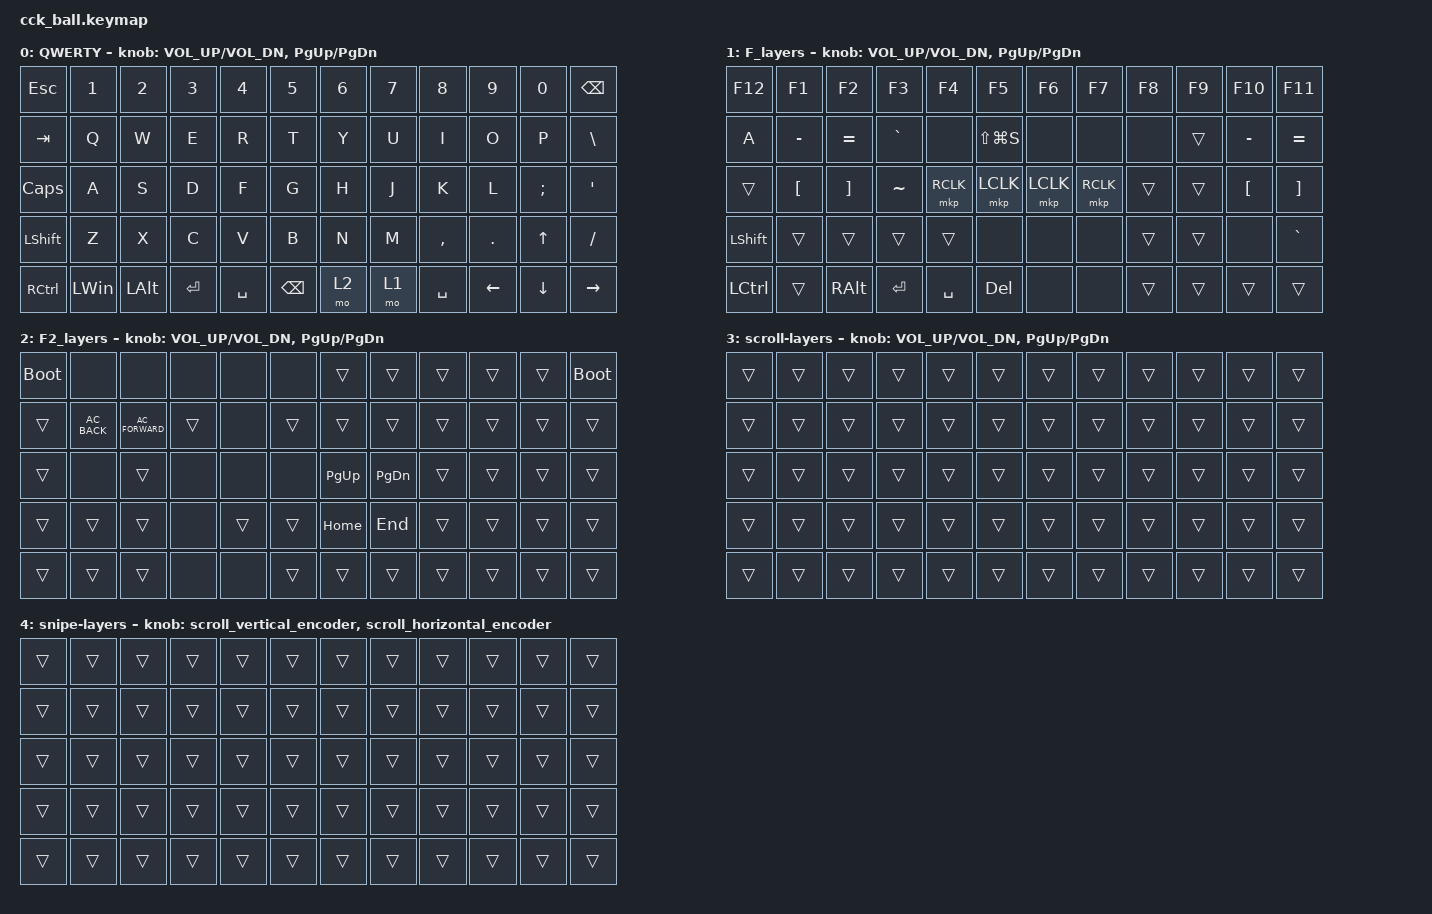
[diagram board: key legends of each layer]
#define ZMK_POINTING_DEFAULT_MOVE_VAL 1000 // 600
#define ZMK_POINTING_DEFAULT_SCRL_VAL 12   // 10

#include <input/processors.dtsi>
#include <zephyr/dt-bindings/input/input-event-codes.h>
#include <behaviors.dtsi>
#include <dt-bindings/zmk/keys.h>
#include <dt-bindings/zmk/pointing.h>

&mmv_input_listener { input-processors = <&zip_xy_scaler 2 1>; };

&msc_input_listener { input-processors = <&zip_scroll_scaler 2 1>; };

&msc {
    acceleration-exponent = <0>;      // 0
    time-to-max-speed-ms = <300>;       // 300
    delay-ms = <0>;                   // 0
};

&mmv {
    time-to-max-speed-ms = <500>;
    acceleration-exponent = <1>;
    trigger-period-ms = <16>;
};

&soft_off { hold-time-ms = <2000>; };

/ {
    // 上下滚动编码器行为

    scroll_vertical_encoder: scroll_vertical_encoder {
        compatible = "zmk,behavior-sensor-rotate";
        #sensor-binding-cells = <0>;
        bindings = <&msc SCRL_DOWN>, <&msc SCRL_UP>;

        tap-ms = <100>;
    };

    // 左右滚动编码器行为

    scroll_horizontal_encoder: scroll_horizontal_encoder {
        compatible = "zmk,behavior-sensor-rotate";
        #sensor-binding-cells = <0>;
        bindings = <&msc SCRL_LEFT>, <&msc SCRL_RIGHT>;

        tap-ms = <100>;
    };

    behaviors {
    };

    combos {
        compatible = "zmk,combos";

        copy {
            bindings = <&kp LC(C)>;
            key-positions = <37 38>;
        };

        cut {
            bindings = <&kp LC(X)>;
            key-positions = <38 39>;
        };

        paste {
            bindings = <&kp LC(V)>;
            key-positions = <39 40>;
        };
    };

    keymap {
        compatible = "zmk,keymap";

        QWERTY {
            bindings = <
&kp ESC            &kp N1        &kp N2        &kp N3     &kp N4     &kp N5         &kp N6  &kp N7  &kp N8     &kp N9          &kp N0          &kp BACKSPACE
&kp TAB            &kp Q         &kp W         &kp E      &kp R      &kp T          &kp Y   &kp U   &kp I      &kp O           &kp P           &kp BSLH
&kp CAPSLOCK       &kp A         &kp S         &kp D      &kp F      &kp G          &kp H   &kp J   &kp K      &kp L           &kp SEMI        &kp SQT
&kp LEFT_SHIFT     &kp Z         &kp X         &kp C      &kp V      &kp B          &kp N   &kp M   &kp COMMA  &kp DOT         &kp UP_ARROW    &kp FSLH
&kp RIGHT_CONTROL  &kp LEFT_WIN  &kp LEFT_ALT  &kp ENTER  &kp SPACE  &kp BACKSPACE  &mo 2   &mo 1   &kp SPACE  &kp LEFT_ARROW  &kp DOWN_ARROW  &kp RIGHT_ARROW
            >;

            sensor-bindings = <&inc_dec_kp C_VOL_UP C_VOL_DN &inc_dec_kp PG_UP PG_DN>;
        };

        F_layers {
            bindings = <
&kp F12           &kp F1            &kp F2             &kp F3     &kp F4     &kp F5         &kp F6     &kp F7     &kp F8  &kp F9  &kp F10           &kp F11
&kp A             &kp MINUS         &kp EQUAL          &kp GRAVE  &none      &kp LS(LG(S))  &none      &none      &none   &trans  &kp MINUS         &kp EQUAL
&trans            &kp LEFT_BRACKET  &kp RIGHT_BRACKET  &kp TILDE  &mkp RCLK  &mkp LCLK      &mkp LCLK  &mkp RCLK  &trans  &trans  &kp LEFT_BRACKET  &kp RIGHT_BRACKET
&kp LSHIFT        &trans            &trans             &trans     &trans     &none          &none      &none      &trans  &trans  &none             &kp GRAVE
&kp LEFT_CONTROL  &trans            &kp RIGHT_ALT      &kp ENTER  &kp SPACE  &kp DEL        &none      &none      &trans  &trans  &trans            &trans
            >;

            sensor-bindings = <&inc_dec_kp C_VOL_UP C_VOL_DN &inc_dec_kp PG_UP PG_DN>;
        };

        F2_layers {
            bindings = <
&bootloader  &none          &none             &none   &none   &none   &trans       &trans         &trans  &trans  &trans  &bootloader
&trans       &kp C_AC_BACK  &kp C_AC_FORWARD  &trans  &none   &trans  &trans       &trans         &trans  &trans  &trans  &trans
&trans       &none          &trans            &none   &none   &none   &kp PAGE_UP  &kp PAGE_DOWN  &trans  &trans  &trans  &trans
&trans       &trans         &trans            &none   &trans  &trans  &kp HOME     &kp END        &trans  &trans  &trans  &trans
&trans       &trans         &trans            &none   &none   &trans  &trans       &trans         &trans  &trans  &trans  &trans
            >;

            sensor-bindings = <&inc_dec_kp C_VOL_UP C_VOL_DN &inc_dec_kp PG_UP PG_DN>;
        };

        scroll-layers {
            bindings = <
&trans  &trans  &trans  &trans  &trans  &trans  &trans  &trans  &trans  &trans  &trans  &trans
&trans  &trans  &trans  &trans  &trans  &trans  &trans  &trans  &trans  &trans  &trans  &trans
&trans  &trans  &trans  &trans  &trans  &trans  &trans  &trans  &trans  &trans  &trans  &trans
&trans  &trans  &trans  &trans  &trans  &trans  &trans  &trans  &trans  &trans  &trans  &trans
&trans  &trans  &trans  &trans  &trans  &trans  &trans  &trans  &trans  &trans  &trans  &trans
            >;

            sensor-bindings = <&inc_dec_kp C_VOL_UP C_VOL_DN &inc_dec_kp PG_UP PG_DN>;
        };

        snipe-layers {
            bindings = <
&trans  &trans  &trans  &trans  &trans  &trans  &trans  &trans  &trans  &trans  &trans  &trans
&trans  &trans  &trans  &trans  &trans  &trans  &trans  &trans  &trans  &trans  &trans  &trans
&trans  &trans  &trans  &trans  &trans  &trans  &trans  &trans  &trans  &trans  &trans  &trans
&trans  &trans  &trans  &trans  &trans  &trans  &trans  &trans  &trans  &trans  &trans  &trans
&trans  &trans  &trans  &trans  &trans  &trans  &trans  &trans  &trans  &trans  &trans  &trans
            >;

            sensor-bindings =
                <&scroll_vertical_encoder>,
                // 编码器1：上下滚动,,,,,
                <&scroll_horizontal_encoder>;

            // 编码器2：左右滚动
        };
    };
};
